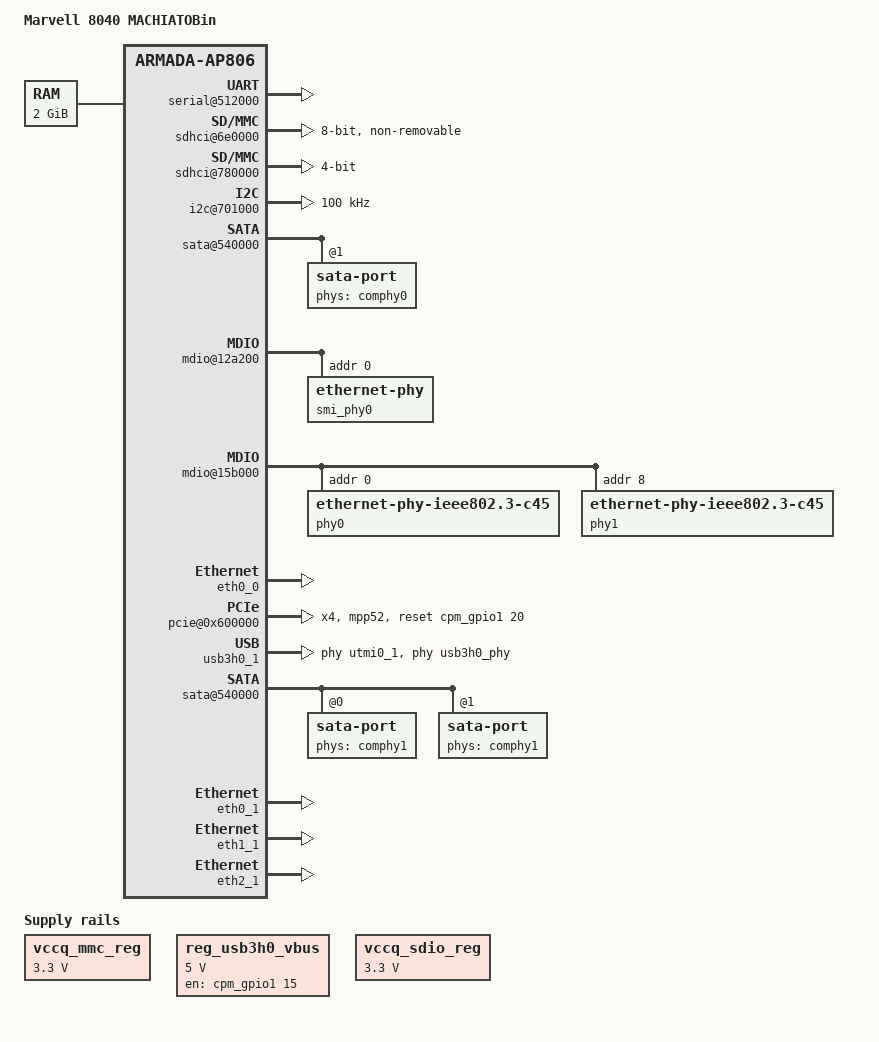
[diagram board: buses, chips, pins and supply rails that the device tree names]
/*
 * Copyright (C) 2016 Marvell Technology Group Ltd.
 *
 * This file is dual-licensed: you can use it either under the terms
 * of the GPLv2 or the X11 license, at your option. Note that this dual
 * licensing only applies to this file, and not this project as a
 * whole.
 *
 *  a) This library is free software; you can redistribute it and/or
 *     modify it under the terms of the GNU General Public License as
 *     published by the Free Software Foundation; either version 2 of the
 *     License, or (at your option) any later version.
 *
 *     This library is distributed in the hope that it will be useful,
 *     but WITHOUT ANY WARRANTY; without even the implied warranty of
 *     MERCHANTABILITY or FITNESS FOR A PARTICULAR PURPOSE.  See the
 *     GNU General Public License for more details.
 *
 * Or, alternatively,
 *
 *  b) Permission is hereby granted, free of charge, to any person
 *     obtaining a copy of this software and associated documentation
 *     files (the "Software"), to deal in the Software without
 *     restriction, including without limitation the rights to use,
 *     copy, modify, merge, publish, distribute, sublicense, and/or
 *     sell copies of the Software, and to permit persons to whom the
 *     Software is furnished to do so, subject to the following
 *     conditions:
 *
 *     The above copyright notice and this permission notice shall be
 *     included in all copies or substantial portions of the Software.
 *
 *     THE SOFTWARE IS PROVIDED "AS IS", WITHOUT WARRANTY OF ANY KIND,
 *     EXPRESS OR IMPLIED, INCLUDING BUT NOT LIMITED TO THE WARRANTIES
 *     OF MERCHANTABILITY, FITNESS FOR A PARTICULAR PURPOSE AND
 *     NONINFRINGEMENT. IN NO EVENT SHALL THE AUTHORS OR COPYRIGHT
 *     HOLDERS BE LIABLE FOR ANY CLAIM, DAMAGES OR OTHER LIABILITY,
 *     WHETHER IN AN ACTION OF CONTRACT, TORT OR OTHERWISE, ARISING
 *     FROM, OUT OF OR IN CONNECTION WITH THE SOFTWARE OR THE USE OR
 *     OTHER DEALINGS IN THE SOFTWARE.
 */

/*
 * Device Tree file for MACCHIATOBin Armada 8040 community board platform
 */

#include "armada-8040.dtsi"

/ {
	model = "Marvell 8040 MACHIATOBin";
	compatible = "marvell,armada8040-mcbin", "marvell,armada8040",
			"marvell,armada-ap806-quad", "marvell,armada-ap806";

	memory@00000000 {
		device_type = "memory";
		reg = <0x0 0x0 0x0 0x80000000>;
	};

	aliases {
		ethernet0 = &emac0;
		ethernet1 = &emac0_1;
		ethernet2 = &emac2_1;
		ethernet3 = &emac3_1;
	};

	ap806 {
		config-space {
			serial@512000 {
				status = "okay";
			};
			sdhci@6e0000 {
				vqmmc-supply = <&vccq_mmc_reg>;
				bus-width = <8>;
				no-1-8-v;
				non-removable;
				marvell,xenon-emmc;
				status = "okay";
			};
			vccq_mmc_reg: regulator@0 {
				compatible = "regulator-fixed";
				regulator-name = "vccq-mmc-reg";
				regulator-min-microvolt = <3300000>;
				regulator-max-microvolt = <3300000>;
				regulator-always-on;
				status = "okay";
			};
		};
	};

	cpn-110-master {
		config-space {
			pinctrl@440000 {
				xhci0_vbus_pins: xhci0-vbus-pins {
					marvell,pins = "mpp47";
					marvell,function = "gpio";
				};
				pcie_reset_pins: pcie-reset-pins {
					marvell,pins = "mpp52";
					marvell,function = "gpio";
				};
			};
			comphy0: comphy {
				status = "okay";
			};
			sdhci@780000 {
				vqmmc-supply = <&vccq_sdio_reg>;
				bus-width = <4>;
				no-1-8-v;
				broken-cd;
				pinctrl-names = "default";
				pinctrl-0 = <&cpm_sdhci_pins>;
				status = "okay";
			};
			i2c@701000 {
				clock-frequency = <100000>;
				pinctrl-names = "default";
				pinctrl-0 = <&cpm_i2c0_pins>;
				status = "okay";
			};
			sata@540000 {
				status = "okay";

				sata-port@0 {
					status = "disabled";
				};
				sata-port@1 {
					phys = <&comphy0 5 COMPHY_SATA1>;
					phy-names = "comphy";
					status = "okay";
				};
			};
			mdio@12a200 {
				#address-cells = <1>;
				#size-cells = <0>;
				smi_phy0: ethernet-phy@0 {
					reg = <0>;
				};
			};
			mdio@15b000 {
				#address-cells = <1>;
				#size-cells = <0>;
				phy0: ethernet-phy@0 {
					compatible = "ethernet-phy-ieee802.3-c45";
					reg = <0>;
				};
				phy1: ethernet-phy@1 {
					compatible = "ethernet-phy-ieee802.3-c45";
					reg = <8>;
				};
			};
			gop {
				emac0_0: mac0 {
					phy-mode = "sfi"; /* lane-4 */
					phys = <&comphy0 4 COMPHY_SFI>;
					phy-names = "comphy";
					phy = <&phy0>;
				};
			};
			ppv22@000000 {
				l4_chksum_jumbo_port = <0>;
				pinctrl-names = "default";
				eth0_0: eth0@010000 {
					status = "okay";
				};
			};
		};
		pcie@0x600000 {
			num-lanes = <4>;
			status = "okay";
			reset-gpios = <&cpm_gpio1 20 GPIO_ACTIVE_HIGH>;
			pinctrl-names = "default";
			pinctrl-0 = <&pcie_reset_pins>;
		};
		reg_usb3h0_vbus: usb3-vbus0 {
			compatible = "regulator-fixed";
			pinctrl-names = "default";
			pinctrl-0 = <&xhci0_vbus_pins>;
			regulator-name = "reg-usb3h0-vbus";
			regulator-min-microvolt = <5000000>;
			regulator-max-microvolt = <5000000>;
			enable-active-high;
			gpio = <&cpm_gpio1 15 GPIO_ACTIVE_HIGH>;
			status = "okay";
		};
		vccq_sdio_reg: regulator@1 {
			compatible = "regulator-fixed";
			regulator-name = "vccq-sdio-reg";
			regulator-min-microvolt = <3300000>;
			regulator-max-microvolt = <3300000>;
			regulator-always-on;
			status = "okay";
		};
	};

	cpn-110-slave {
		config-space {
			comphy1: comphy {
				status = "okay";
			};
			usb3h0_1: usb3@500000 {
				usb-phy = <&usb3h0_phy>;
				separated-phys-for-usb2-usb3;
				phys = <&utmi0_1>,
				       <&comphy1 2 COMPHY_USB3H0>;
				phy-names = "usb2", "usb3";
				status = "okay";
			};
			usb3h0_phy: usb3_phy0 {
				compatible = "usb-nop-xceiv";
				vcc-supply = <&reg_usb3h0_vbus>;
			};
			sata@540000 {
				status = "okay";

				sata-port@0 {
					phys = <&comphy1 1 COMPHY_SATA0>;
					phy-names = "comphy";
					status = "okay";
				};
				sata-port@1 {
					phys = <&comphy1 3 COMPHY_SATA1>;
					phy-names = "comphy";
					status = "okay";
				};
			};
			gop {
				emac0_1: mac0 {
					phy-mode = "sfi"; /* lane-4 */
					phys = <&comphy1 4 COMPHY_SFI>;
					phy-names = "comphy";
					phy = <&phy1>;
				};
				emac2_1: mac2 {
					phy-mode = "sgmii"; /* lane-0 */
					phys = <&comphy1 0 COMPHY_SGMII1>;
					phy-names = "comphy";
					phy = <&smi_phy0>;
				};
				emac3_1: mac3 {
					phy-mode = "sgmii"; /* lane-5 */
					phy-speed = <2500>;
					phys = <&comphy1 5 COMPHY_HS_SGMII2>;
					phy-names = "comphy";
				};
			};
			ppv22@000000 {
				l4_chksum_jumbo_port = <0>;
				pinctrl-names = "default";
				eth0_1: eth0@010000 {
					status = "okay";
				};
				eth1_1: eth1@020000 {
					status = "okay";
				};
				eth2_1: eth2@030000 {
					status = "okay";
				};
			};
			utmi0_1: utmi@580000 {
				status = "okay";
			};
		};
	};
};

